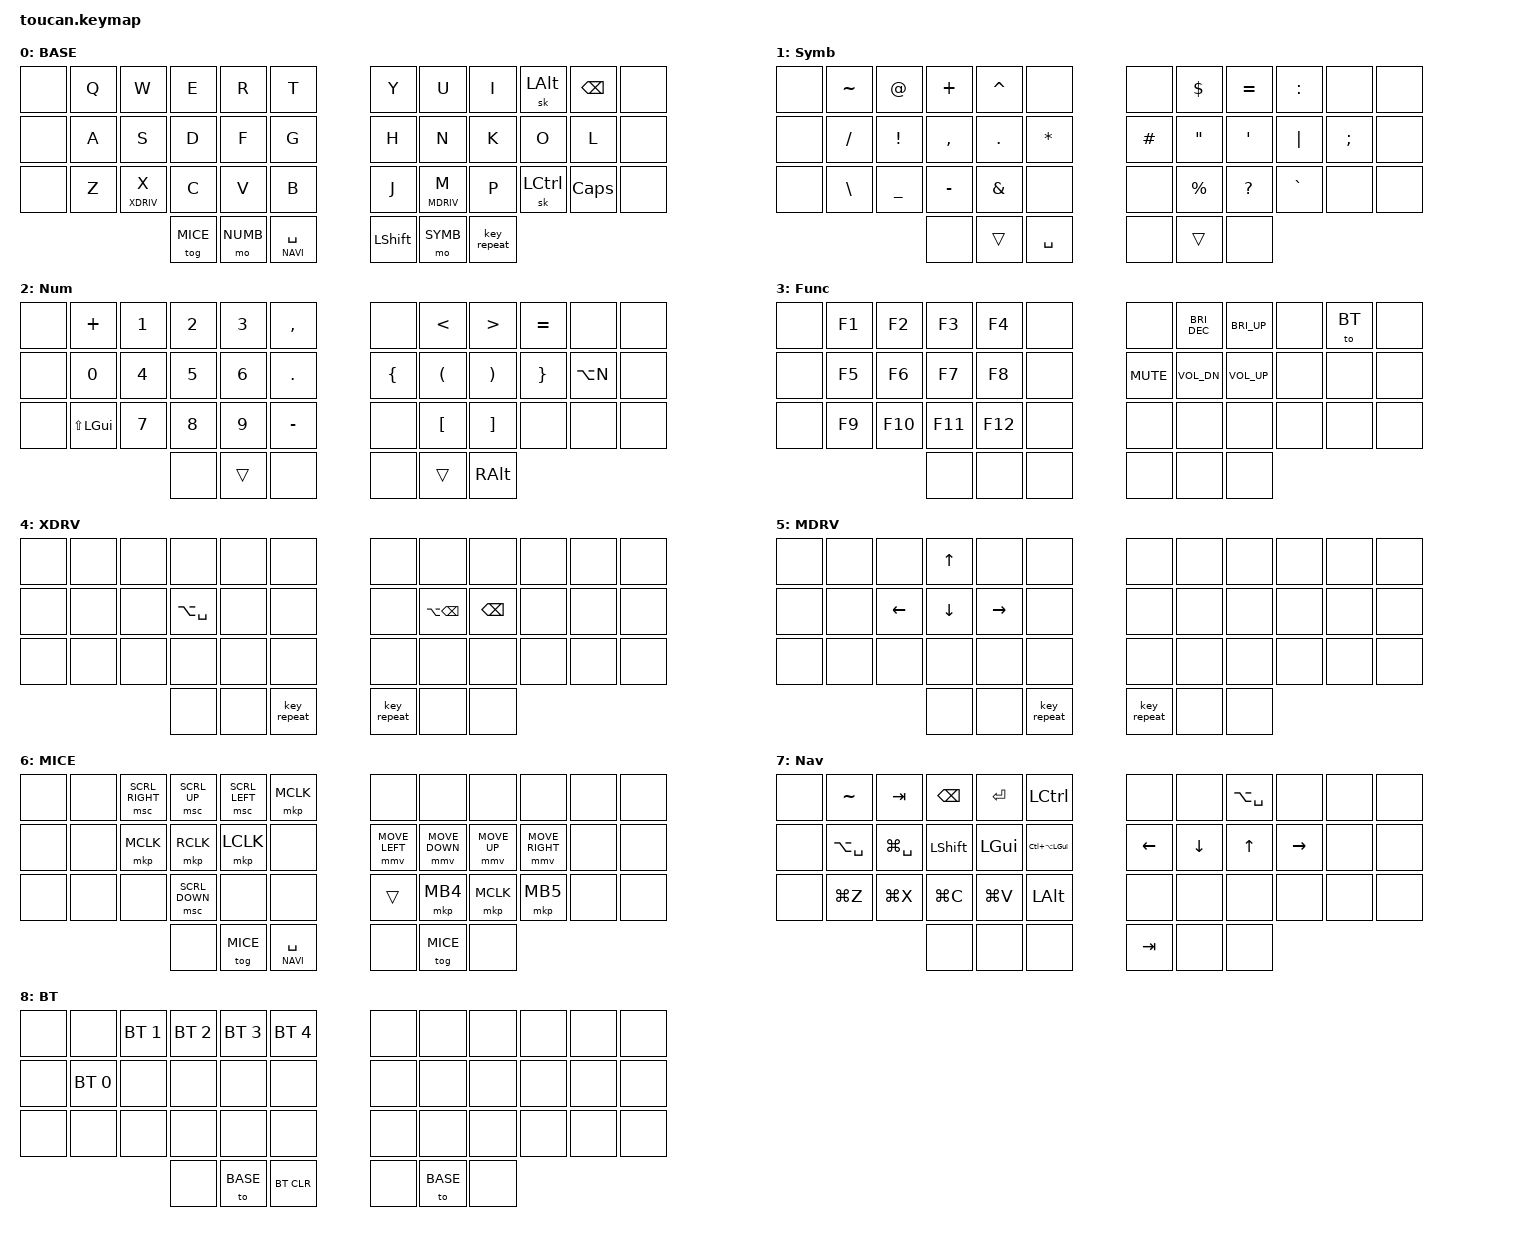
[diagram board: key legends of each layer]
#include <behaviors.dtsi>
#include <dt-bindings/zmk/keys.h>
#include <dt-bindings/zmk/bt.h>
#include <dt-bindings/zmk/outputs.h>
#include <dt-bindings/zmk/mouse.h>

#define BASE  0
#define SYMB  1
#define NUMB  2
#define FUNC  3
#define XDRIV 4
#define MDRIV 5
#define MICE  6
#define NAVI  7
#define BT    8

&sk {
  quick-release;
};

/ {
  conditional_layers {
    compatible = "zmk,conditional-layers";
    tri_layer {
      if-layers = <1 2>;
      then-layer = <3>;
    };
  };

  behaviors {
    hltk: holdlayer_tapkey {
      compatible = "zmk,behavior-hold-tap";
      #binding-cells = <2>;
      tapping-term-ms = <175>;
      quick-tap-ms = <0>;
      flavor = "tap-preferred";
      bindings = <&mo>, <&kp>;
    };
  };
  combos {
    compatible = "zmk,combos";
    combo_input_switch {
      timeout-ms = <50>;
      key-positions = <26 27>;
      layers = <0>;
      bindings = <&kp LA(SPACE)>;
    };
    combo_backspace {
      timeout-ms = <50>;
      key-positions = <20 21>;
      layers = <0>;
      bindings = <&kp BSPC>;
    };
    combo_lgui {
      timeout-ms = <50>;
      key-positions = <15 16>;
      layers = <0>;
      bindings = <&kp LGUI>;
    };
    combo_rgui {
      timeout-ms = <50>;
      key-positions = <19 20>;
      layers = <0>;
      bindings = <&kp RGUI>;
    };
    combo_esc {
      timeout-ms = <50>;
      key-positions = <14 15>;
      layers = <0>;
      bindings = <&kp ESC>;
    };
    combo_enter {
      timeout-ms = <50>;
      key-positions = <32 33>;
      layers = <0>;
      bindings = <&kp RET>;
    };
    combo_tab {
      timeout-ms = <50>;
      key-positions = <2 3>;
      layers = <0>;
      bindings = <&kp TAB>;
    };
  };

  keymap {
    compatible = "zmk,keymap";

    base {
      display-name = "BASE";
      /*
      * ┌──────┬──────┬──────┬──────┬──────┬──────┐   ┌──────┬──────┬──────┬──────┬──────┬──────┐
      * │      │  Q   │  W   │  E   │  R   │  T   │   │  Y   │  U   │  I   │ Alt  │ Bsp  │      │
      * ├──────┼──────┼──────┼──────┼──────┼──────┤   ├──────┼──────┼──────┼──────┼──────┼──────┤
      * │      │  A   │  S   │  D   │  F   │  G   │   │  H   │  N   │  K   │  O   │  L   │      │
      * ├──────┼──────┼──────┼──────┼──────┼──────┤   ├──────┼──────┼──────┼──────┼──────┼──────┤
      * │      │  Z   │  X   │  C   │  V   │  B   │   │  J   │  M   │  P   │ Ctl  │ Caps │      │
      * └──────┴──────┴──────┴──────┴──────┴──────┘   └──────┴──────┴──────┴──────┴──────┴──────┘
      *                      ┌──────┬──────┬──────┐   ┌──────┬──────┬──────┐
      *                      │ Alt␣ │ Num  │ Nav␣ │   │ Sft  │ Sym  │ Cmd␣ │
      *                      └──────┴──────┴──────┘   └──────┴──────┴──────┘
      */
      bindings = <
        &none &kp Q &kp W         &kp E &kp R &kp T     &kp Y &kp U         &kp I &sk LALT  &kp BSPC &none
        &none &kp A &kp S         &kp D &kp F &kp G     &kp H &kp N         &kp K &kp O     &kp L    &none
        &none &kp Z &hltk XDRIV X &kp C &kp V &kp B     &kp J &hltk MDRIV M &kp P &sk LCTRL &kp CAPS &none

        &tog MICE &mo NUMB &hltk NAVI SPACE         &kp LSHFT &mo SYMB &key_repeat
      >;
    };

    symbs_layer {
      display-name = "Symb";

      /*
      * ┌──────┬──────┬──────┬──────┬──────┬──────┐   ┌──────┬──────┬──────┬──────┬──────┬──────┐
      * │      │  ~   │  @   │  +   │  ^   │      │   │      │  $   │  =   │  :   │      │      │
      * ├──────┼──────┼──────┼──────┼──────┼──────┤   ├──────┼──────┼──────┼──────┼──────┼──────┤
      * │      │  /   │  !   │  ,   │  .   │  *   │   │  #   │  “   │  ‘   │  |   │  ;   │      │
      * ├──────┼──────┼──────┼──────┼──────┼──────┤   ├──────┼──────┼──────┼──────┼──────┼──────┤
      * │      │  \   │  _   │  -   │  &   │      │   │      │  %   │  ?   │  `   │      │      │
      * └──────┴──────┴──────┴──────┴──────┴──────┘   └──────┴──────┴──────┴──────┴──────┴──────┘
      *                      ┌──────┬──────┬──────┐   ┌──────┬──────┬──────┐
      *                      │ Cmd  │ Func │  ␣   │   │      │      │      │
      *                      └──────┴──────┴──────┘   └──────┴──────┴──────┘
      */
      bindings = <
        &none &kp TILDE &kp AT    &kp PLUS  &kp CARET &none        &none    &kp DLLR  &kp EQUAL &kp COLON &none    &none
        &none &kp FSLH  &kp EXCL  &kp COMMA &kp DOT   &kp ASTRK    &kp HASH &kp DQT   &kp SQT   &kp PIPE  &kp SEMI &none
        &none &kp BSLH  &kp UNDER &kp MINUS &kp AMPS  &none        &none    &kp PRCNT &kp QMARK &kp GRAVE &none    &none

        &none &trans &kp SPACE    &none &trans &none
      >;
    };

    numbrkt_layer {
      display-name = "Num";

      /*
      * ┌──────┬──────┬──────┬──────┬──────┬──────┐   ┌──────┬──────┬──────┬──────┬──────┬──────┐
      * │      │  +   │  1   │  2   │  3   │  ,   │   │      │  <   │  >   │  =   │      │      │
      * ├──────┼──────┼──────┼──────┼──────┼──────┤   ├──────┼──────┼──────┼──────┼──────┼──────┤
      * │      │  0   │  4   │  5   │  6   │  .   │   │  {   │  (   │  )   │  }   │  ⌥N  │      │
      * ├──────┼──────┼──────┼──────┼──────┼──────┤   ├──────┼──────┼──────┼──────┼──────┼──────┤
      * │      │  ⇧⌘  │  7   │  8   │  9   │  -   │   │      │  [   │  ]   │      │      │      │
      * └──────┴──────┴──────┴──────┴──────┴──────┘   └──────┴──────┴──────┴──────┴──────┴──────┘
      *                      ┌──────┬──────┬──────┐   ┌──────┬──────┬──────┐
      *                      │      │      │      │   │      │ Func │ Alt  │
      *                      └──────┴──────┴──────┘   └──────┴──────┴──────┘
      */
      bindings = <
        &none &kp PLUS     &kp N1 &kp N2 &kp N3 &kp COMMA    &none    &kp LT   &kp GT   &kp EQUAL &none     &none
        &none &kp N0       &kp N4 &kp N5 &kp N6 &kp DOT      &kp LBRC &kp LPAR &kp RPAR &kp RBRC  &kp LA(N) &none
        &none &kp LS(LGUI) &kp N7 &kp N8 &kp N9 &kp MINUS    &none    &kp LBKT &kp RBKT &none     &none     &none

        &none &trans &none    &none &trans &kp RALT
      >;
    };
    function_layer {
      display-name = "Func";

      /*
      * ┌──────┬──────┬──────┬──────┬──────┬──────┐   ┌──────┬──────┬──────┬──────┬──────┬──────┐
      * │      │  F1  │  F2  │  F3  │  F4  │      │   │      │      │      │      │      │      │
      * ├──────┼──────┼──────┼──────┼──────┼──────┤   ├──────┼──────┼──────┼──────┼──────┼──────┤
      * │      │  F5  │  F6  │  F7  │  F8  │      │   │      │      │      │      │      │      │
      * ├──────┼──────┼──────┼──────┼──────┼──────┤   ├──────┼──────┼──────┼──────┼──────┼──────┤
      * │      │  F9  │ F10  │ F11  │ F12  │      │   │ Mute │  V-  │  V+  │      │ Cmk  │      │
      * └──────┴──────┴──────┴──────┴──────┴──────┘   └──────┴──────┴──────┴──────┴──────┴──────┘
      *                      ┌──────┬──────┬──────┐   ┌──────┬──────┬──────┐
      *                      │  BT  │      │      │   │      │      │      │
      *                      └──────┴──────┴──────┘   └──────┴──────┴──────┘
      */
      bindings = <
        &none &kp F1 &kp F2  &kp F3  &kp F4  &none    &none      &kp C_BRI_DEC &kp C_BRI_UP &none &to BT &none 
        &none &kp F5 &kp F6  &kp F7  &kp F8  &none    &kp C_MUTE &kp C_VOL_DN  &kp C_VOL_UP &none &none  &none 
        &none &kp F9 &kp F10 &kp F11 &kp F12 &none    &none      &none         &none        &none &none  &none 

        &none &none &none    &none &none &none
      >;
    };

    xdrive_layer {
      display-name = "XDRV";
      bindings = <
        &none &none &none &none         &none &none            &none &none        &none    &none &none &none
        &none &none &none &kp LA(SPACE) &none &none            &none &kp LA(BSPC) &kp BSPC &none &none &none
        &none &none &none &none         &none &none            &none &none        &none    &none &none &none

        &none &none &key_repeat    &key_repeat &none &none
      >;
    };

    mdrive_layer {
      display-name = "MDRV";
      bindings = <
        &none &none &none    &kp UP   &none     &none    &none &none &none &none &none &none
        &none &none &kp LEFT &kp DOWN &kp RIGHT &none    &none &none &none &none &none &none
        &none &none &none    &none    &none     &none    &none &none &none &none &none &none

        &none &none &key_repeat    &key_repeat &none &none
      >;
    };

    mice_layer {
      display-name = "MICE";
      bindings = <
        &none &none &msc SCRL_RIGHT &msc SCRL_UP   &msc SCRL_LEFT &mkp MCLK      &none          &none          &none        &none           &none &none
        &none &none &mkp MCLK       &mkp RCLK      &mkp LCLK      &none          &mmv MOVE_LEFT &mmv MOVE_DOWN &mmv MOVE_UP &mmv MOVE_RIGHT &none &none
        &none &none &none           &msc SCRL_DOWN &none          &none          &trans         &mkp MB4       &mkp MCLK    &mkp MB5        &none &none

        &none &tog MICE &hltk NAVI SPACE    &none &tog MICE &none
      >;
    };

    nav_layer {
      display-name = "Nav";

      /*
      * ┌───────┬───────┬───────┬───────┬───────┬───────┐   ┌───────┬───────┬───────┬───────┬───────┬───────┐
      * │       │   ~   │  Tab  │  Bsp  │  Ent  │  Ctl  │   │       │       │ Alt␣  │       │       │       │
      * ├───────┼───────┼───────┼───────┼───────┼───────┤   ├───────┼───────┼───────┼───────┼───────┼───────┤
      * │       │ Alt␣  │ Cmd␣  │  Sft  │  Cmd  │  C⌥⌘  │   │   ←   │   ↓   │   ↑   │   →   │       │       │
      * ├───────┼───────┼───────┼───────┼───────┼───────┤   ├───────┼───────┼───────┼───────┼───────┼───────┤
      * │       │ Cmd+Z │ Cmd+X │ Cmd+C │ Cmd+V │  Alt  │   │       │       │       │       │       │       │
      * └───────┴───────┴───────┴───────┴───────┴───────┘   └───────┴───────┴───────┴───────┴───────┴───────┘
      *                         ┌───────┬───────┬───────┐   ┌───────┬───────┬───────┐
      *                         │       │       │       │   │  Tab  │       │       │
      *                         └───────┴───────┴───────┘   └───────┴───────┴───────┘
      */
      bindings = <
        &none &kp TILDE     &kp TAB       &kp BSPC  &kp RET   &kp LCTRL             &none    &none    &kp LA(SPACE) &none     &none &none
        &none &kp LA(SPACE) &kp LG(SPACE) &kp LSHFT &kp LGUI  &kp LC(LA(LGUI))      &kp LEFT &kp DOWN &kp UP        &kp RIGHT &none &none
        &none &kp LG(Z)     &kp LG(X)     &kp LG(C) &kp LG(V) &kp LALT              &none    &none    &none         &none     &none &none

        &none    &none    &none         &kp TAB     &none       &none
      >;
    };

    control_layer {
      display-name = "BT";

      /*
      * ┌───────┬───────┬───────┬───────┬───────┬───────┐   ┌───────┬───────┬───────┬───────┬───────┬───────┐
      * │       │       │       │       │       │       │   │       │       │       │       │       │       │
      * ├───────┼───────┼───────┼───────┼───────┼───────┤   ├───────┼───────┼───────┼───────┼───────┼───────┤
      * │       │  BT0  │  BT1  │  BT2  │  BT3  │  BT4  │   │       │       │       │       │       │       │
      * ├───────┼───────┼───────┼───────┼───────┼───────┤   ├───────┼───────┼───────┼───────┼───────┼───────┤
      * │       │       │       │       │       │       │   │       │       │       │       │       │       │
      * └───────┴───────┴───────┴───────┴───────┴───────┘   └───────┴───────┴───────┴───────┴───────┴───────┘
      *                         ┌───────┬───────┬───────┐   ┌───────┬───────┬───────┐
      *                         │ BTclr │ Base  │       │   │       │ Base  │       │
      *                         └───────┴───────┴───────┘   └───────┴───────┴───────┘
      */
      bindings = <
        &none &none        &bt BT_SEL 1 &bt BT_SEL 2 &bt BT_SEL 3 &bt BT_SEL 4   &none &none &none &none &none &none
        &none &bt BT_SEL 0 &none        &none        &none        &none          &none &none &none &none &none &none
        &none &none        &none        &none        &none        &none          &none &none &none &none &none &none

        &none      &to BASE        &bt BT_CLR          &none    &to BASE    &none
      >;
    };
  };
};

